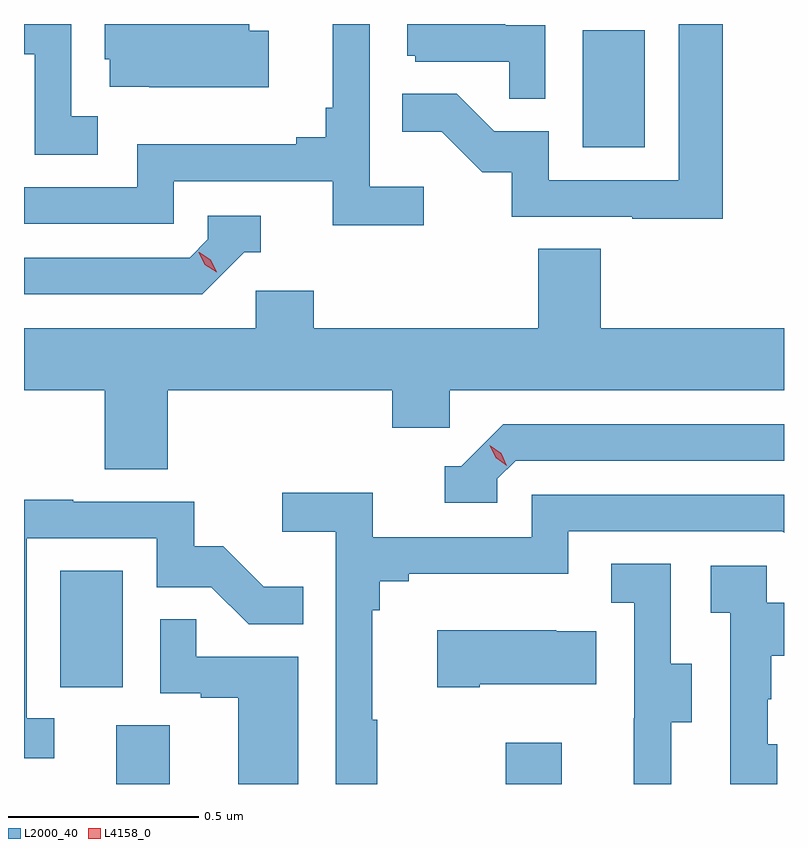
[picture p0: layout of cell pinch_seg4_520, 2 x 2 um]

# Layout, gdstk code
import gdstk
lib = gdstk.Library(unit=1e-6, precision=1e-09)
def R(c, l, rs):  # rectangles x0, y0, x1, y1
    for r in rs: c.add(gdstk.rectangle(r[:2], r[2:], *l))
def P(c, l, *ps):  # polygons
    for p in ps: c.add(gdstk.Polygon(p, *l))
L2000_40 = (2000, 40)
L4158_0 = (4158, 0)

pinch_seg4_520 = lib.new_cell('pinch_seg4_520')
R(pinch_seg4_520, L2000_40, [(984.869,755.824,985.009,755.978), (985.894,755.824,986.041,755.932), (984.722,756.078,984.886,756.385), (986.096,757.5,986.26,757.807)])
P(pinch_seg4_520, L2000_40, [(984.82,757.581),(984.75,757.581),(984.75,757.824),(984.626,757.824),(984.626,757.744),(984.654,757.744),(984.654,757.48),(984.82,757.48)],
  [(985.678,757.396),(985.536,757.396),(985.536,757.824),(985.439,757.824),(985.439,757.603),(985.42,757.603),(985.42,757.526),(985.343,757.526),(985.343,757.507),(984.924,757.507),(984.924,757.395),(984.626,757.395),(984.626,757.299),(985.02,757.299),(985.02,757.41),(985.439,757.41),(985.439,757.294),(985.678,757.294)],
  [(985.27,757.806),(985.219,757.806),(985.219,757.824),(984.839,757.824),(984.839,757.731),(984.851,757.731),(984.851,757.659),(984.955,757.659),(984.955,757.658),(985.27,757.658)],
  [(985.998,757.821),(985.892,757.821),(985.892,757.824),(985.634,757.824),(985.634,757.74),(985.656,757.74),(985.656,757.725),(985.903,757.725),(985.903,757.627),(985.998,757.627)],
  [(986.465,757.824),(986.349,757.824),(986.349,757.413),(986.007,757.413),(986.007,757.542),(985.863,757.542),(985.765,757.64),(985.621,757.64),(985.621,757.541),(985.725,757.541),(985.832,757.434),(985.909,757.434),(985.909,757.317),(986.227,757.317),(986.227,757.312),(986.465,757.312)],
  [(985.206,757.224),(985.249,757.224),(985.249,757.32),(985.11,757.32),(985.11,757.257),(985.062,757.209),(984.626,757.209),(984.626,757.113),(985.095,757.113)],
  [(985.004,756.86),(985.595,756.86),(985.595,756.762),(985.746,756.762),(985.746,756.86),(986.626,756.86),(986.626,757.024),(986.144,757.024),(986.144,757.232),(985.979,757.232),(985.979,757.024),(985.388,757.024),(985.388,757.122),(985.236,757.122),(985.236,757.024),(984.626,757.024),(984.626,756.86),(984.839,756.86),(984.839,756.652),(985.004,756.652)],
  [(985.872,756.627),(985.92,756.675),(986.626,756.675),(986.626,756.771),(985.887,756.771),(985.776,756.66),(985.733,756.66),(985.733,756.564),(985.872,756.564)],
  [(985.555,755.993),(985.543,755.993),(985.543,756.281),(985.562,756.281),(985.562,756.358),(985.639,756.358),(985.639,756.377),(986.058,756.377),(986.058,756.489),(986.622,756.489),(986.626,756.485),(986.626,756.585),(985.962,756.585),(985.962,756.474),(985.544,756.474),(985.544,756.59),(985.305,756.59),(985.305,756.488),(985.446,756.488),(985.446,755.824),(985.555,755.824)],
  [(984.706,755.997),(984.633,755.997),(984.633,756.471),(984.975,756.471),(984.975,756.342),(985.119,756.342),(985.217,756.244),(985.361,756.244),(985.361,756.343),(985.257,756.343),(985.15,756.45),(985.074,756.45),(985.074,756.567),(984.755,756.567),(984.755,756.572),(984.626,756.572),(984.626,755.892),(984.706,755.892)],
  [(986.329,755.986),(986.383,755.986),(986.383,756.141),(986.328,756.141),(986.328,756.404),(986.172,756.404),(986.172,756.301),(986.232,756.301),(986.232,755.997),(986.231,755.997),(986.231,755.824),(986.329,755.824)],
  [(986.608,755.928),(986.583,755.928),(986.583,756.047),(986.593,756.047),(986.593,756.161),(986.626,756.161),(986.626,756.301),(986.58,756.301),(986.58,756.399),(986.433,756.399),(986.433,756.275),(986.484,756.275),(986.484,755.824),(986.608,755.824)],
  [(985.348,756.159),(985.079,756.159),(985.079,756.257),(984.984,756.257),(984.984,756.063),(985.091,756.063),(985.091,756.051),(985.19,756.051),(985.19,755.824),(985.348,755.824)],
  [(985.825,756.086),(986.132,756.086),(986.132,756.226),(986.027,756.226),(986.027,756.229),(985.713,756.229),(985.713,756.079),(985.825,756.079)])
P(pinch_seg4_520, L4158_0, [(985.133,757.171),(985.102,757.191),(985.086,757.224),(985.086,757.224),(985.087,757.224),(985.117,757.204),(985.133,757.171),(985.133,757.171)],
  [(985.897,756.662),(985.867,756.682),(985.851,756.715),(985.851,756.715),(985.852,756.715),(985.882,756.695),(985.897,756.662),(985.897,756.662)])

lib.write_gds('pinch_seg4_520.gds')
